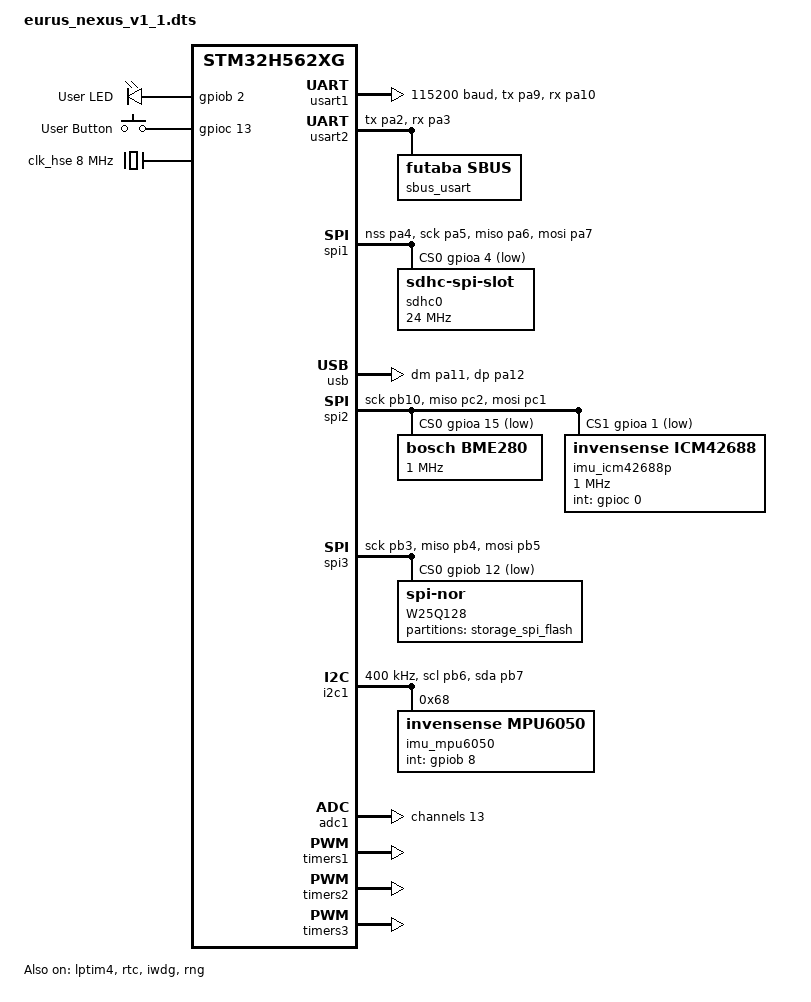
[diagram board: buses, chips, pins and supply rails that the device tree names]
/*
 * This file is part of the efc project <https://github.com/eurus-project/efc/>.
 * Copyright (c) 2024 - 2025 The efc developers.
 *
 * This program is free software: you can redistribute it and/or modify
 * it under the terms of the GNU General Public License as published by
 * the Free Software Foundation, version 3.
 *
 * This program is distributed in the hope that it will be useful, but
 * WITHOUT ANY WARRANTY; without even the implied warranty of
 * MERCHANTABILITY or FITNESS FOR A PARTICULAR PURPOSE. See the GNU
 * General Public License for more details.
 *
 * You should have received a copy of the GNU General Public License
 * along with this program. If not, see <http://www.gnu.org/licenses/>.
 */

/dts-v1/;
#include <st/h5/stm32h562Xg.dtsi>
#include <st/h5/stm32h562rgtx-pinctrl.dtsi>
#include <zephyr/dt-bindings/input/input-event-codes.h>
#include <zephyr/dt-bindings/sensor/icm42688.h>

/ {
	chosen {
		zephyr,console = &cdc_acm_uart;
        zephyr,shell-uart = &cdc_acm_uart;
        zephyr,code-partition = &slot0_partition;
		zephyr,sram = &sram1;
		zephyr,flash = &flash0;
		telemetry,ground = &usart1;
        futaba,sbus = &sbus_usart;
	};

	aliases {
		led0 = &led_0;
		sw0 = &button_0;
		watchdog0 = &iwdg;
	};

	leds {
		compatible = "gpio-leds";

		led_0: led0 {
			gpios = <&gpiob 2 GPIO_ACTIVE_HIGH>;
			label = "User LED";
		};
	};

	gpio_keys {
		compatible = "gpio-keys";

		button_0: button0 {
			label = "User Button";
			gpios = <&gpioc 13 (GPIO_PULL_DOWN | GPIO_ACTIVE_HIGH)>;
			zephyr,code = <INPUT_KEY_0>;
		};
	};
};

&clk_lsi {
	status = "okay";
};

&clk_lse {
	status = "okay";
};

&clk_hsi {
	status = "okay";
};

&clk_hsi48 {
	status = "okay";
};

&clk_hse {
	status = "okay";
	clock-frequency = <DT_FREQ_M(8)>;
};

&rcc {
	clocks = <&pll>;
	clock-frequency = <DT_FREQ_M(240)>;
	ahb-prescaler = <1>;
	apb1-prescaler = <2>;
	apb2-prescaler = <1>;
	apb3-prescaler = <2>;
};

&pll {
	div-m = <2>;
	mul-n = <120>;
	div-p = <2>;
	div-q = <6>; // NOTE: This divider value cannot be lower than this because ADC has a limit on clock value
	div-r = <2>;
	clocks = <&clk_hse>;
	status = "okay";
};

stm32_lp_tick_source: &lptim4 {
	clocks = <&rcc STM32_CLOCK(APB3, 13)>,
		 <&rcc STM32_SRC_LSI LPTIM4_SEL(4)>;
	status = "okay";
};

&flash0 {
	partitions {
		compatible = "fixed-partitions";

		#address-cells = <1>;
		#size-cells = <1>;

		boot_partition: partition@0 {
			label = "mcuboot";
			reg = <0x00000000 DT_SIZE_K(64)>;
		};

		slot0_partition: partition@10000 {
			label = "image-0";
			reg = <0x00010000 DT_SIZE_K(448)>;
		};

		slot1_partition: partition@80000 {
			label = "image-1";
			reg = <0x00080000 DT_SIZE_K(448)>;
		};

		storage_partition: partition@f0000 {
			label = "storage";
			reg = <0x000f0000 DT_SIZE_K(64)>;
		};
	};
};

&sdmmc1 {
    status = "disabled";
};

&rtc {
	clocks = <&rcc STM32_CLOCK(APB3, 21)>,
		 <&rcc STM32_SRC_LSE RTC_SEL(1)>;
	status = "okay";
};

&iwdg {
	status = "okay";
};

&rng {
	status = "okay";
};

&usart1 {
	status = "okay";
	pinctrl-0 = <&usart1_tx_pa9 &usart1_rx_pa10>;
	pinctrl-names = "default";
	current-speed = <115200>;
};

&usart2 {
    pinctrl-0 = <&usart2_tx_pa2 &usart2_rx_pa3>;
	pinctrl-names = "default";
	status = "okay";

    sbus_usart: sbus {
        compatible = "futaba,sbus";
        right_stick_x {
            channel = <1>;
            type = <INPUT_EV_ABS>;
            zephyr,code = <INPUT_ABS_RX>;
        };
        right_stick_y {
            channel = <2>;
            type = <INPUT_EV_ABS>;
            zephyr,code = <INPUT_ABS_RY>;
        };
        left_stick_x {
            channel = <3>;
            type = <INPUT_EV_ABS>;
            zephyr,code = <INPUT_ABS_THROTTLE>;
        };
        left_stick_y {
            channel = <4>;
            type = <INPUT_EV_ABS>;
            zephyr,code = <INPUT_ABS_RZ>;
        };
    };
};

&spi1 {
    pinctrl-0 = <&spi1_nss_pa4 &spi1_sck_pa5 &spi1_miso_pa6 &spi1_mosi_pa7>;
	pinctrl-names = "default";
    status = "okay";
    cs-gpios = <&gpioa 4 (GPIO_ACTIVE_LOW | GPIO_PULL_UP)>;

	sdhc0: sdhc@0 {
                compatible = "zephyr,sdhc-spi-slot";
                reg = <0>;
                status = "okay";
                mmc {
                    compatible = "zephyr,sdmmc-disk";
                    disk-name = "SD_SPI";
                    status = "okay";
                };
                spi-max-frequency = <24000000>;
        };
};

&fdcan1 {
    status = "disabled";
};

zephyr_udc0: &usb {
	pinctrl-0 = <&usb_dm_pa11 &usb_dp_pa12>;
	pinctrl-names = "default";
    cdc_acm_uart: cdc_acm_uart0 {
		compatible = "zephyr,cdc-acm-uart";
	};
	status = "okay";
};

&spi2 {
    status = "okay";
    pinctrl-0 = <&spi2_sck_pb10 &spi2_miso_pc2 &spi2_mosi_pc1>;
    pinctrl-names = "default";
    cs-gpios = <&gpioa 15 (GPIO_ACTIVE_LOW | GPIO_PULL_UP)>,
               <&gpioa 1 (GPIO_ACTIVE_LOW | GPIO_PULL_UP)>;

    bme280@0 {
        compatible = "bosch,bme280";
        reg = <0>;
        spi-max-frequency = <1000000>;
    };

    imu_icm42688p: icm42688@1 {
        compatible = "invensense,icm42688", "invensense,icm4268x";
        reg = <1>;
        status = "okay";
        spi-max-frequency = <1000000>;
        int-gpios = <&gpioc 0 GPIO_ACTIVE_HIGH>;
        accel-pwr-mode = <ICM42688_DT_ACCEL_LN>;
        accel-fs = <ICM42688_DT_ACCEL_FS_16>;
        accel-odr = <ICM42688_DT_ACCEL_ODR_50>;
        gyro-pwr-mode= <ICM42688_DT_GYRO_LN>;
        gyro-fs = <ICM42688_DT_GYRO_FS_2000>;
        gyro-odr = <ICM42688_DT_GYRO_ODR_50>;
	};
};

&spi3 {
    status = "okay";
    pinctrl-0 = <&spi3_sck_pb3 &spi3_miso_pb4 &spi3_mosi_pb5>;
    pinctrl-names = "default";
    cs-gpios = <&gpiob 12 (GPIO_ACTIVE_LOW | GPIO_PULL_UP)>;

    spiflash: spiflash@0 {
        compatible = "jedec,spi-nor";
        status = "okay";
        reg = <0>;
        label = "W25Q128";
        spi-max-frequency = <1000000U>;
        jedec-id = [ef 40 18];
        size = <0x1000000>;
        /* Optionally, set the deep power down mode */
        // has-dpd;
        // t-enter-dpd = <10000>;
        // t-exit-dpd = <35000>;
    };
};

&spiflash {
    partitions {
        compatible = "fixed-partitions";
        #address-cells = <1>;
        #size-cells = <1>;

        lfs_partition: partition@0 {
            label = "storage_spi_flash";
            reg = <0x00000000 0x01000000>;  // 16MB
        };
    };
};

&i2c1 {
    pinctrl-0 = <&i2c1_scl_pb6 &i2c1_sda_pb7>;
    pinctrl-names = "default";
    status = "okay";
    clock-frequency = <I2C_BITRATE_FAST>;

    imu_mpu6050: mpu6050@68 {
		compatible = "invensense,mpu6050";
		reg = <0x68>;
		status = "okay";
		int-gpios = <&gpiob 8 GPIO_ACTIVE_HIGH>;
	};
};

&adc1 {
    compatible = "st,stm32-adc";
	st,adc-clock-source = "SYNC";
	st,adc-prescaler = <4>;
    status = "okay";
    
	#address-cells = <1>;
	#size-cells = <0>;

    channel@13 {
        reg = <13>;
		zephyr,gain = "ADC_GAIN_1";
		zephyr,reference = "ADC_REF_INTERNAL";
		zephyr,acquisition-time = <ADC_ACQ_TIME_DEFAULT>;
		zephyr,resolution = <12>;
    };
};

&timers1 {
	status = "okay";
	st,prescaler = <24>;

	pwm1: pwm {
		status = "okay";
		pinctrl-0 = <&tim1_ch2n_pb14 &tim1_ch4n_pc5>;
		pinctrl-names = "default";
	};
};

&timers2 {
	status = "okay";
	st,prescaler = <24>;

	pwm2: pwm {
		status = "okay";
		pinctrl-0 = <&tim2_ch1_pa0 &tim2_ch4_pc4>;
		pinctrl-names = "default";
	};
};

&timers3 {
	status = "okay";
	st,prescaler = <24>;

	pwm3: pwm {
		status = "okay";
		pinctrl-0 = <&tim3_ch1_pc6 &tim3_ch2_pc7 &tim3_ch3_pb0 &tim3_ch4_pb1>;
		pinctrl-names = "default";
	};
};
